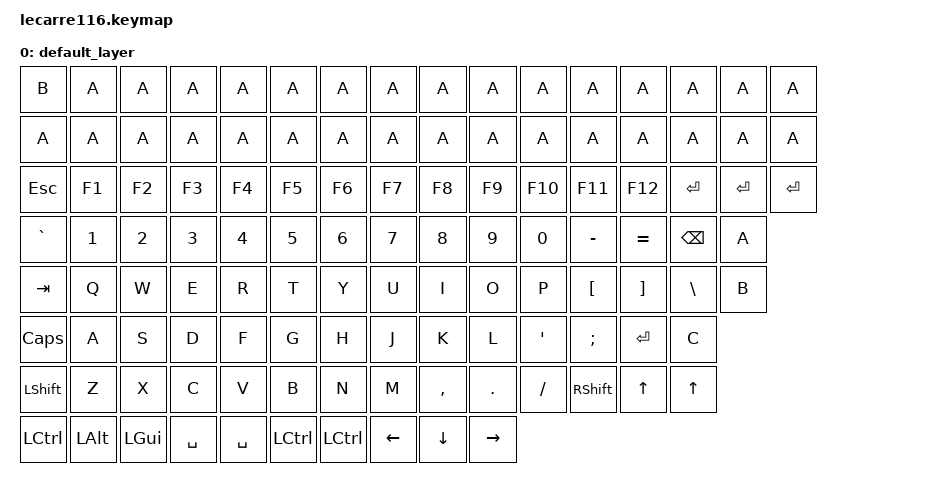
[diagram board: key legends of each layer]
#include <behaviors.dtsi>
#include <dt-bindings/zmk/keys.h>
#include <dt-bindings/zmk/bt.h>

/ {
    keymap {
        compatible = "zmk,keymap";

        default_layer {
            bindings = <
                &kp B       &kp A       &kp A       &kp A       &kp A       &kp A       &kp A       &kp A       &kp A       &kp A       &kp A       &kp A       &kp A       &kp A       &kp A       &kp A

                &kp A       &kp A       &kp A       &kp A       &kp A       &kp A       &kp A       &kp A       &kp A       &kp A       &kp A       &kp A       &kp A       &kp A       &kp A       &kp A
                
                &kp ESC     &kp F1      &kp F2      &kp F3      &kp F4      &kp F5      &kp F6      &kp F7      &kp F8      &kp F9      &kp F10     &kp F11      &kp F12    &kp ENTER     &kp ENTER   &kp ENTER
                
                &kp GRAVE   &kp 1       &kp 2       &kp 3       &kp 4       &kp 5       &kp 6       &kp 7       &kp 8       &kp 9       &kp 0       &kp MINUS    &kp EQUAL   &kp BSPC     &kp A
                
                &kp TAB     &kp Q       &kp W       &kp E       &kp R       &kp T       &kp Y       &kp U       &kp I       &kp O       &kp P       &kp LBKT     &kp RBKT    &kp BSLH     &kp B
                
                &kp CAPS    &kp A       &kp S       &kp D       &kp F       &kp G       &kp H       &kp J       &kp K       &kp L       &kp SQT     &kp SEMI     &kp ENTER   &kp C
                
                &kp LSHFT   &kp Z       &kp X       &kp C       &kp V       &kp B       &kp N       &kp M       &kp COMMA   &kp DOT     &kp SLASH   &kp RSHFT    &kp UP      &kp UP
                
                &kp LCTRL   &kp LALT    &kp LGUI    &kp SPACE   &kp SPACE    &kp LCTRL    &kp LCTRL   &kp LEFT    &kp DOWN    &kp RIGHT
            >;
        };
        
        // bt_layer {
        //     bindings = <
        //         &bt BT_SEL 0      &bt BT_SEL 1     &bt BT_SEL 2     &bt BT_SEL 3     &bt BT_SEL 4     &bt BT_CLR       &none       &none       &none       &none       &none       &none       &none       &none       &none       &none

        //         &kp A       &kp A       &kp A       &kp A       &kp A       &kp A       &kp A       &kp A       &kp A       &kp A       &kp A       &kp A       &kp A       &kp A       &kp A       &kp A
                
        //         &kp ESC     &kp F1      &kp F2      &kp F3      &kp F4      &kp F5      &kp F6      &kp F7      &kp F8      &kp F9      &kp F10     &kp F11      &kp F12    &kp ENTER     &kp ENTER   &kp ENTER
                
        //         &kp GRAVE   &kp 1       &kp 2       &kp 3       &kp 4       &kp 5       &kp 6       &kp 7       &kp 8       &kp 9       &kp 0       &kp MINUS    &kp EQUAL   &kp BSPC     &kp A
                
        //         &kp TAB     &kp Q       &kp W       &kp E       &kp R       &kp T       &kp Y       &kp U       &kp I       &kp O       &kp P       &kp LBKT     &kp RBKT    &kp BSLH     &kp B
                
        //         &kp CAPS    &kp A       &kp S       &kp D       &kp F       &kp G       &kp H       &kp J       &kp K       &kp L       &kp SQT     &kp SEMI     &kp ENTER   &kp C
                
        //         &kp LSHFT   &kp Z       &kp X       &kp C       &kp V       &kp B       &kp N       &kp M       &kp COMMA   &kp DOT     &kp SLASH   &kp RSHFT    &kp UP      &kp UP
                
        //         &kp LCTRL   &kp LALT    &kp LGUI    &kp SPACE   &none       &none        &none      &kp LEFT    &kp DOWN    &kp RIGHT
        //     >;
        // };
    };
};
